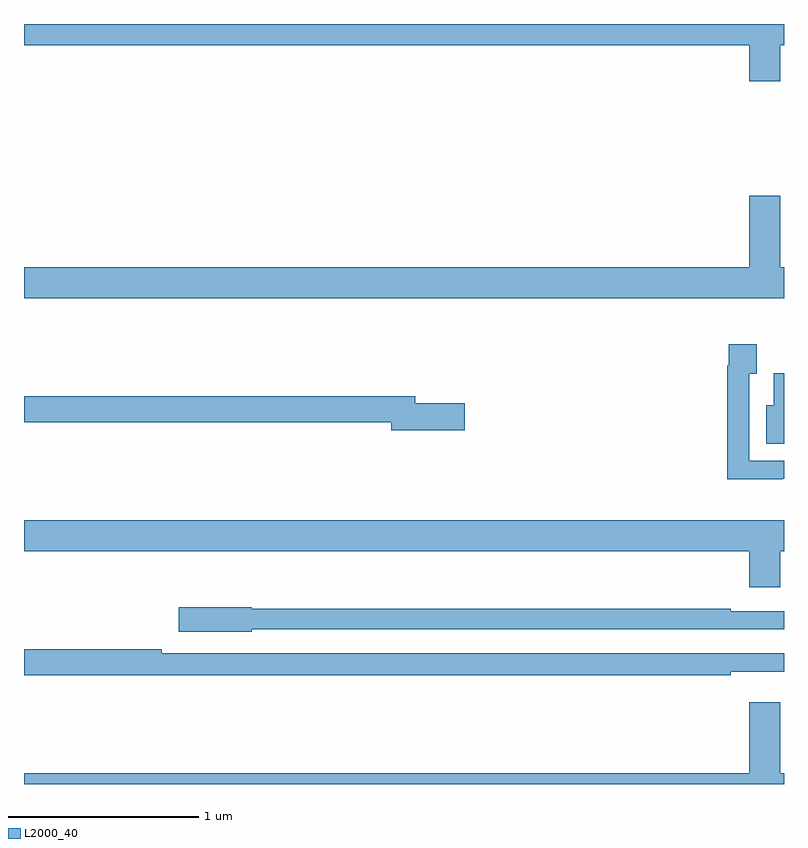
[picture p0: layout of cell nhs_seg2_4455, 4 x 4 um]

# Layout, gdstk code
import gdstk
lib = gdstk.Library(unit=1e-6, precision=1e-09)
def P(c, l, *ps):  # polygons
    for p in ps: c.add(gdstk.Polygon(p, *l))
L2000_40 = (2000, 40)

nhs_seg2_4455 = lib.new_cell('nhs_seg2_4455')
P(nhs_seg2_4455, L2000_40, [(356.98,595.688),(357,595.688),(357,595.8),(353,595.8),(353,595.688),(356.816,595.688),(356.816,595.5),(356.98,595.5)],
  [(357,594.52),(356.98,594.52),(356.98,594.895),(356.816,594.895),(356.816,594.52),(353,594.52),(353,594.356),(357,594.356)],
  [(356.993,593.406),(357,593.406),(357,593.502),(356.817,593.502),(356.817,593.959),(356.857,593.959),(356.857,594.115),(356.709,594.115),(356.709,594.002),(356.701,594.002),(356.701,593.405),(356.993,593.405)],
  [(357,593.962),(356.945,593.962),(356.945,593.794),(356.906,593.794),(356.906,593.591),(357,593.591)],
  [(355.321,593.804),(355.06,593.804),(355.06,593.84),(353,593.84),(353,593.704),(354.932,593.704),(354.932,593.662),(355.321,593.662)],
  [(356.98,593.024),(357,593.024),(357,593.188),(353,593.188),(353,593.024),(356.816,593.024),(356.816,592.836),(356.98,592.836)],
  [(354.198,592.614),(357,592.614),(357,592.71),(356.72,592.71),(356.72,592.723),(354.198,592.723),(354.198,592.731),(353.814,592.731),(353.814,592.601),(354.198,592.601)],
  [(356.72,592.391),(357,592.391),(357,592.488),(353.726,592.488),(353.726,592.508),(353,592.508),(353,592.372),(356.72,592.372)],
  [(357,591.856),(356.98,591.856),(356.98,592.231),(356.816,592.231),(356.816,591.856),(353,591.856),(353,591.8),(357,591.8)])

lib.write_gds('nhs_seg2_4455.gds')
